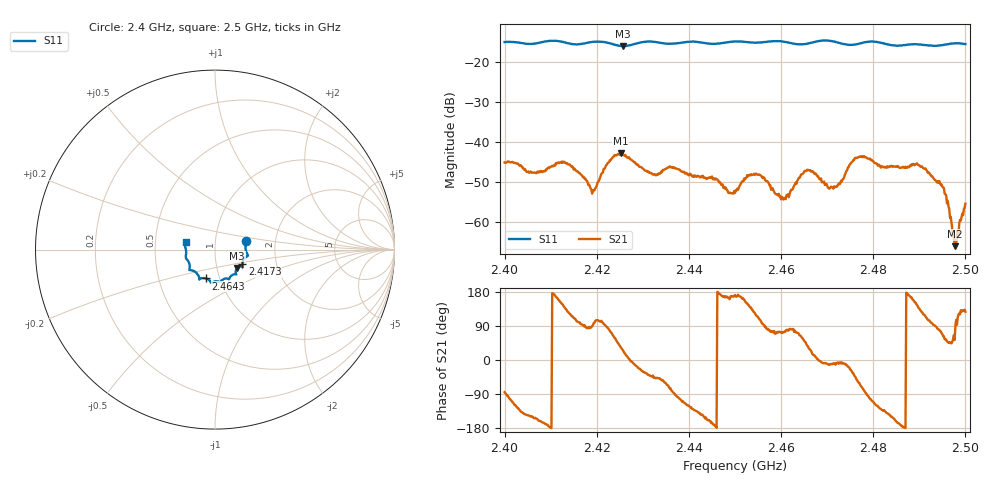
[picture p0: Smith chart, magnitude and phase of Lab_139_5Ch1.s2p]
# Hz S RI R 50
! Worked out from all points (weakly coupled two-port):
!   601 points, 2.4 GHz to 2.5 GHz, reference 50 ohm
!   highest |S21| = -42.83 dB at 2.4252 GHz (marker M1); lowest = -66.2 dB at 2.4977 GHz (marker M2)
!   lowest |S11| = -15.9 dB at 2.4257 GHz (marker M3), VSWR 1.38, Z = 62.5 - j13.1 ohm
!   |S11| at or under -10 dB: start of sweep to end of sweep
!   S12 and S22 are empty: the file has one direction only
!   S11 on the Smith chart (normalised r, x): 2.4 GHz: 1.41, +0.14; 2.4173 GHz: 1.34, -0.23; 2.4643 GHz: 0.86, -0.28; 2.5 GHz: 0.72, +0.06
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2.4e9  0.1729 0.0494  0.000491 -0.00551  0 0  0 0
2.406333e9  0.1714 -0.00234  -0.00368 -0.00186  0 0  0 0
2.412667e9  0.176 -0.0392  -0.00469 0.0032  0 0  0 0
2.416667e9  0.1529 -0.0745  -0.000297 0.00384  0 0  0 0
2.417333e9  0.1524 -0.0819  -0.000122 0.00349  0 0  0 0
2.419333e9  0.1536 -0.096  -0.000309 0.00246  0 0  0 0
2.425167e9  0.1264 -0.099  0.00595 0.00408  0 0  0 0
2.425667e9  0.1229 -0.1023  0.00633 0.00306  0 0  0 0
2.433333e9  0.1131 -0.137  0.00261 -0.0029  0 0  0 0
2.436333e9  0.0919 -0.1448  0.000679 -0.00475  0 0  0 0
2.45e9  0.0295 -0.1808  -0.00227 0.00034  0 0  0 0
2.455e9  0.0019 -0.177  -0.00154 0.00356  0 0  0 0
2.4605e9  -0.0249 -0.181  0.000554 0.00181  0 0  0 0
2.464333e9  -0.0499 -0.1606  0.0018 0.00348  0 0  0 0
2.466667e9  -0.0759 -0.1598  0.00402 0.00141  0 0  0 0
2.470833e9  -0.0873 -0.1639  0.0027 -0.000495  0 0  0 0
2.4765e9  -0.1219 -0.1176  0.00377 -0.00505  0 0  0 0
2.483333e9  -0.1409 -0.09  -0.00392 -0.00292  0 0  0 0
2.489667e9  -0.1629 -0.0425  -0.00406 0.00321  0 0  0 0
2.494833e9  -0.1637 0.00786  0.000965 0.00276  0 0  0 0
2.497667e9  -0.1708 0.0299  0.000297 0.000392  0 0  0 0
2.5e9  -0.1641 0.0426  -0.00102 0.00134  0 0  0 0
